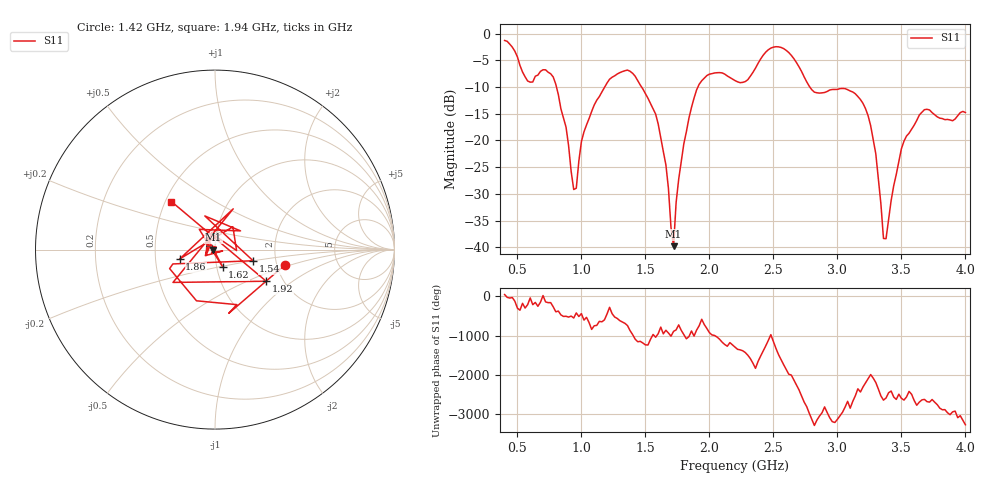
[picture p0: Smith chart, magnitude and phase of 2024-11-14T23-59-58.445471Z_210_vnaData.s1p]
!Created with skrf (http://scikit-rf.org).
# Hz S RI R 50.0
!freq ReS11 ImS11
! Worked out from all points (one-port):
!   181 points, 400 MHz to 4 GHz, reference 50 ohm
!   lowest |S11| = -39.8 dB at 1.72 GHz (marker M1), VSWR 1.02, Z = 49 - j0.0898 ohm
!   |S11| at or under -10 dB: 805.2 MHz to 1.182 GHz (377.1 MHz wide, 37.9 % of centre); 1.47 GHz to 1.91 GHz (440.3 MHz wide, 26.1 % of centre); 2.785 GHz to end of sweep
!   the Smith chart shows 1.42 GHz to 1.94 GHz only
!   S11 on the Smith chart (normalised r, x): 1.42 GHz: 2.21, -0.45; 1.54 GHz: 1.52, -0.20; 1.62 GHz: 1.07, -0.21; 1.86 GHz: 0.67, -0.07; 1.92 GHz: 1.64, -0.65; 1.94 GHz: 0.54, +0.33
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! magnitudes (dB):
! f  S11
! 400 MHz  -1.3
! 580 MHz  -8.9
! 780 MHz  -8.1
! 860 MHz  -15.8
! 960 MHz  -28.9
! 1.04 GHz  -17.1
! 1.3 GHz  -7.3
! 1.42 GHz  -8.0
! 1.54 GHz  -13.1
! 1.62 GHz  -19.5
! 1.66 GHz  -24.5
! 1.72 GHz  -39.8
! 1.76 GHz  -27.3
! 1.86 GHz  -13.8
! 1.92 GHz  -9.5
! 1.94 GHz  -8.8
! 2.2 GHz  -8.8
! 2.5 GHz  -2.5
! 2.66 GHz  -4.7
! 2.82 GHz  -11.0
! 3.1 GHz  -10.7
! 3.26 GHz  -17.2
! 3.3 GHz  -22.5
! 3.36 GHz  -38.3
! 3.5 GHz  -21.6
! 3.56 GHz  -18.6
! 3.68 GHz  -14.2
! 4 GHz  -14.8
